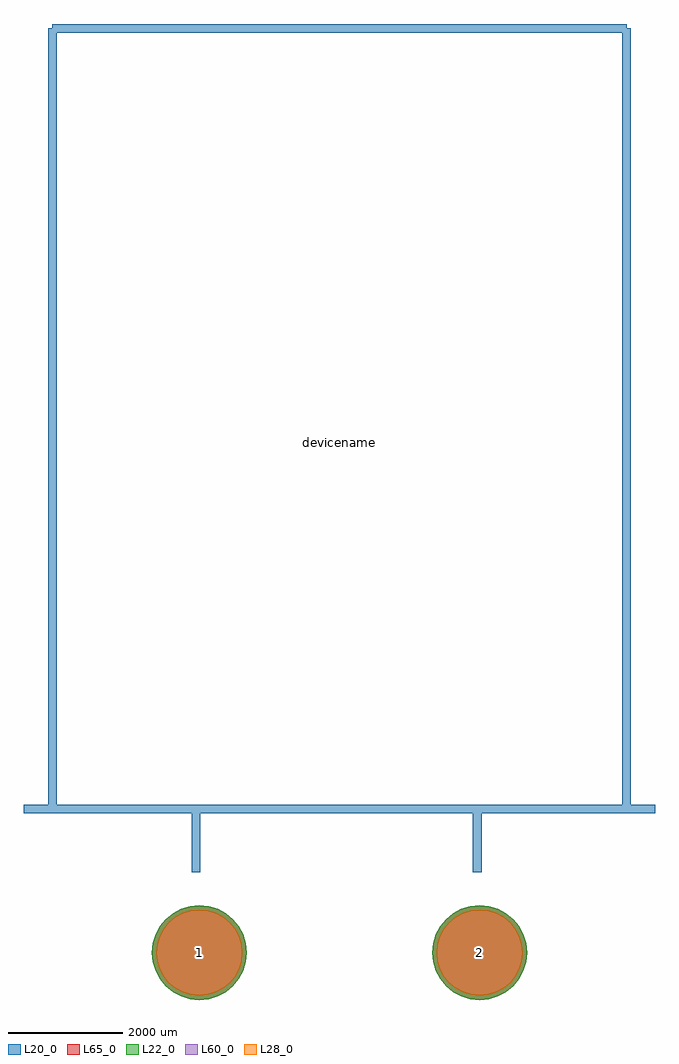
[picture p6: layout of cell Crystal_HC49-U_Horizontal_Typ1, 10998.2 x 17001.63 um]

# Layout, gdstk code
import gdstk
lib = gdstk.Library(unit=1e-6, precision=1e-09)
def P(c, l, *ps):  # polygons
    for p in ps: c.add(gdstk.Polygon(p, *l))
L20_0 = (20, 0)
L22_0 = (22, 0)
L28_0 = (28, 0)
L60_0 = (60, 0)
L65_0 = (65, 0)

crystal_hc49_u_horizonta = lib.new_cell('Crystal_HC49-U_Horizontal_Typ1')
P(crystal_hc49_u_horizonta, L22_0, [(3266.51,0),(3250.647,161.061),(3203.667,315.932),(3127.376,458.662),(3024.706,583.766),(2899.602,686.436),(2756.872,762.727),(2602.001,809.707),(2440.94,825.57),(2279.879,809.707),(2125.008,762.727),(1982.278,686.436),(1857.174,583.766),(1754.504,458.662),(1678.213,315.932),(1631.233,161.061),(1615.37,0),(1631.233,-161.061),(1678.213,-315.932),(1754.504,-458.662),(1857.174,-583.766),(1982.278,-686.436),(2125.008,-762.727),(2279.879,-809.707),(2440.94,-825.57),(2602.001,-809.707),(2756.872,-762.727),(2899.602,-686.436),(3024.706,-583.766),(3127.376,-458.662),(3203.667,-315.932),(3250.647,-161.061)],
  [(-1615.37,0),(-1631.233,161.061),(-1678.213,315.932),(-1754.504,458.662),(-1857.174,583.766),(-1982.278,686.436),(-2125.008,762.727),(-2279.879,809.707),(-2440.94,825.57),(-2602.001,809.707),(-2756.872,762.727),(-2899.602,686.436),(-3024.706,583.766),(-3127.376,458.662),(-3203.667,315.932),(-3250.647,161.061),(-3266.51,0),(-3250.647,-161.061),(-3203.667,-315.932),(-3127.376,-458.662),(-3024.706,-583.766),(-2899.602,-686.436),(-2756.872,-762.727),(-2602.001,-809.707),(-2440.94,-825.57),(-2279.879,-809.707),(-2125.008,-762.727),(-1982.278,-686.436),(-1857.174,-583.766),(-1754.504,-458.662),(-1678.213,-315.932),(-1631.233,-161.061)])
P(crystal_hc49_u_horizonta, L28_0, [(3191.51,0),(3177.088,146.429),(3134.376,287.231),(3065.016,416.994),(2971.673,530.733),(2857.934,624.076),(2728.171,693.436),(2587.369,736.148),(2440.94,750.57),(2294.511,736.148),(2153.709,693.436),(2023.946,624.076),(1910.207,530.733),(1816.864,416.994),(1747.504,287.231),(1704.792,146.429),(1690.37,0),(1704.792,-146.429),(1747.504,-287.231),(1816.864,-416.994),(1910.207,-530.733),(2023.946,-624.076),(2153.709,-693.436),(2294.511,-736.148),(2440.94,-750.57),(2587.369,-736.148),(2728.171,-693.436),(2857.934,-624.076),(2971.673,-530.733),(3065.016,-416.994),(3134.376,-287.231),(3177.088,-146.429)],
  [(-1690.37,0),(-1704.792,146.429),(-1747.504,287.231),(-1816.864,416.994),(-1910.207,530.733),(-2023.946,624.076),(-2153.709,693.436),(-2294.511,736.148),(-2440.94,750.57),(-2587.369,736.148),(-2728.171,693.436),(-2857.934,624.076),(-2971.673,530.733),(-3065.016,416.994),(-3134.376,287.231),(-3177.088,146.429),(-3191.51,0),(-3177.088,-146.429),(-3134.376,-287.231),(-3065.016,-416.994),(-2971.673,-530.733),(-2857.934,-624.076),(-2728.171,-693.436),(-2587.369,-736.148),(-2440.94,-750.57),(-2294.511,-736.148),(-2153.709,-693.436),(-2023.946,-624.076),(-1910.207,-530.733),(-1816.864,-416.994),(-1747.504,-287.231),(-1704.792,-146.429)])
P(crystal_hc49_u_horizonta, L60_0, [(3191.51,0),(3177.088,146.429),(3134.376,287.231),(3065.016,416.994),(2971.673,530.733),(2857.934,624.076),(2728.171,693.436),(2587.369,736.148),(2440.94,750.57),(2294.511,736.148),(2153.709,693.436),(2023.946,624.076),(1910.207,530.733),(1816.864,416.994),(1747.504,287.231),(1704.792,146.429),(1690.37,0),(1704.792,-146.429),(1747.504,-287.231),(1816.864,-416.994),(1910.207,-530.733),(2023.946,-624.076),(2153.709,-693.436),(2294.511,-736.148),(2440.94,-750.57),(2587.369,-736.148),(2728.171,-693.436),(2857.934,-624.076),(2971.673,-530.733),(3065.016,-416.994),(3134.376,-287.231),(3177.088,-146.429)],
  [(-1690.37,0),(-1704.792,146.429),(-1747.504,287.231),(-1816.864,416.994),(-1910.207,530.733),(-2023.946,624.076),(-2153.709,693.436),(-2294.511,736.148),(-2440.94,750.57),(-2587.369,736.148),(-2728.171,693.436),(-2857.934,624.076),(-2971.673,530.733),(-3065.016,416.994),(-3134.376,287.231),(-3177.088,146.429),(-3191.51,0),(-3177.088,-146.429),(-3134.376,-287.231),(-3065.016,-416.994),(-2971.673,-530.733),(-2857.934,-624.076),(-2728.171,-693.436),(-2587.369,-736.148),(-2440.94,-750.57),(-2294.511,-736.148),(-2153.709,-693.436),(-2023.946,-624.076),(-1910.207,-530.733),(-1816.864,-416.994),(-1747.504,-287.231),(-1704.792,-146.429)])
P(crystal_hc49_u_horizonta, L65_0, [(3266.51,0),(3250.647,161.061),(3203.667,315.932),(3127.376,458.662),(3024.706,583.766),(2899.602,686.436),(2756.872,762.727),(2602.001,809.707),(2440.94,825.57),(2279.879,809.707),(2125.008,762.727),(1982.278,686.436),(1857.174,583.766),(1754.504,458.662),(1678.213,315.932),(1631.233,161.061),(1615.37,0),(1631.233,-161.061),(1678.213,-315.932),(1754.504,-458.662),(1857.174,-583.766),(1982.278,-686.436),(2125.008,-762.727),(2279.879,-809.707),(2440.94,-825.57),(2602.001,-809.707),(2756.872,-762.727),(2899.602,-686.436),(3024.706,-583.766),(3127.376,-458.662),(3203.667,-315.932),(3250.647,-161.061)],
  [(-1615.37,0),(-1631.233,161.061),(-1678.213,315.932),(-1754.504,458.662),(-1857.174,583.766),(-1982.278,686.436),(-2125.008,762.727),(-2279.879,809.707),(-2440.94,825.57),(-2602.001,809.707),(-2756.872,762.727),(-2899.602,686.436),(-3024.706,583.766),(-3127.376,458.662),(-3203.667,315.932),(-3250.647,161.061),(-3266.51,0),(-3250.647,-161.061),(-3203.667,-315.932),(-3127.376,-458.662),(-3024.706,-583.766),(-2899.602,-686.436),(-2756.872,-762.727),(-2602.001,-809.707),(-2440.94,-825.57),(-2279.879,-809.707),(-2125.008,-762.727),(-1982.278,-686.436),(-1857.174,-583.766),(-1754.504,-458.662),(-1678.213,-315.932),(-1631.233,-161.061)])
crystal_hc49_u_horizonta.add(gdstk.FlexPath([(-5499.1,2499.36),(5499.1,2499.36)], 149.998, ends="flush", simple_path=True, layer=20, datatype=0))  # L20_0
crystal_hc49_u_horizonta.add(gdstk.FlexPath([(5001.26,16101.06),(5001.26,2499.36)], 149.998, ends="flush", simple_path=True, layer=20, datatype=0))  # L20_0
crystal_hc49_u_horizonta.add(gdstk.FlexPath([(-5001.26,16101.06),(5001.26,16101.06)], 149.998, ends="flush", simple_path=True, layer=20, datatype=0))  # L20_0
crystal_hc49_u_horizonta.add(gdstk.FlexPath([(-5001.26,2499.36),(-5001.26,16101.06)], 149.998, ends="flush", simple_path=True, layer=20, datatype=0))  # L20_0
crystal_hc49_u_horizonta.add(gdstk.FlexPath([(-2499.36,1399.54),(-2499.36,2499.36)], 149.998, ends="flush", simple_path=True, layer=20, datatype=0))  # L20_0
crystal_hc49_u_horizonta.add(gdstk.FlexPath([(2400.3,1399.54),(2400.3,2499.36)], 149.998, ends="flush", simple_path=True, layer=20, datatype=0))  # L20_0
crystal_hc49_u_horizonta.add(gdstk.Label('2', (2440.94,0), layer=28, texttype=0))
crystal_hc49_u_horizonta.add(gdstk.Label('1', (-2440.94,0), layer=28, texttype=0))
crystal_hc49_u_horizonta.add(gdstk.Label('type', (1270,-2540), layer=9, texttype=0))
crystal_hc49_u_horizonta.add(gdstk.Label('devicename', (0,8890), layer=9, texttype=0))

lib.write_gds('Crystal_HC49-U_Horizontal_Typ1.gds')
